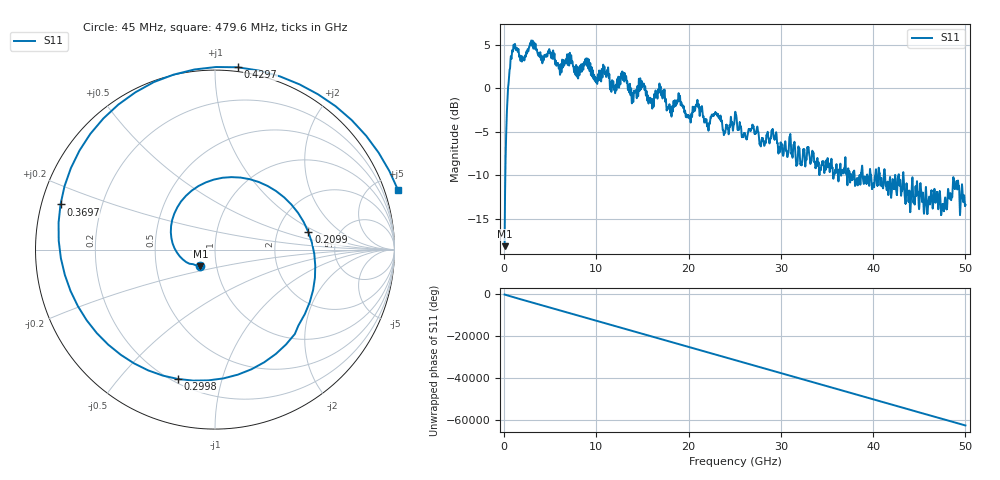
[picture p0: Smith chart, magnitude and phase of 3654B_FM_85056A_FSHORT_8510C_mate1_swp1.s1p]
!Created with skrf (http://scikit-rf.org).
# Hz S RI R 50.0
!freq ReS11 ImS11
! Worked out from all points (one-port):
!   10001 points, 45 MHz to 50 GHz, reference 50 ohm
!   lowest |S11| = -18.1 dB at 45 MHz (marker M1), VSWR 1.28, Z = 41.8 - j7.91 ohm
!   |S11| at or under -10 dB: 37.98 GHz to 38.51 GHz (533.3 MHz wide, 1.39 % of centre); 41.29 GHz to 42.37 GHz (1.086 GHz wide, 2.6 % of centre); 43.3 GHz to end of sweep (the widest 3 of 19)
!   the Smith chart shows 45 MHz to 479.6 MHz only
!   S11 on the Smith chart (normalised r, x): 45 MHz: 0.84, -0.16; 209.9 MHz: 3.00, +0.82; 299.8 MHz: 0.22, -0.73; 369.7 MHz: 0.06, +0.14; 429.7 MHz: -0.03, +1.13; 479.6 MHz: -1.36, +6.02
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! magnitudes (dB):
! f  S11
! 45 MHz  -18.1
! 209.9 MHz  -5.5
! 299.8 MHz  -2.5
! 369.7 MHz  -0.9
! 429.7 MHz  0.2
! 479.6 MHz  0.6
! 794.3 MHz  3.4
! 1.169 GHz  5.1
! 3.027 GHz  4.9
! 6.289 GHz  3.3
! 12.53 GHz  1.2
! 13.92 GHz  -0.6
! 14.96 GHz  0.2
! 15.99 GHz  -1.3
! 17.03 GHz  -0.8
! 17.94 GHz  -2.0
! 18.78 GHz  -1.4
! 20.02 GHz  -3.2
! 20.92 GHz  -1.5
! 22.07 GHz  -4.1
! 25.02 GHz  -2.9
! 26.08 GHz  -5.2
! 31.27 GHz  -8.0
! 37.51 GHz  -10.8
! 43.76 GHz  -11.8
! 47.55 GHz  -13.3
! 48.88 GHz  -11.5
! 50 GHz  -13.4
